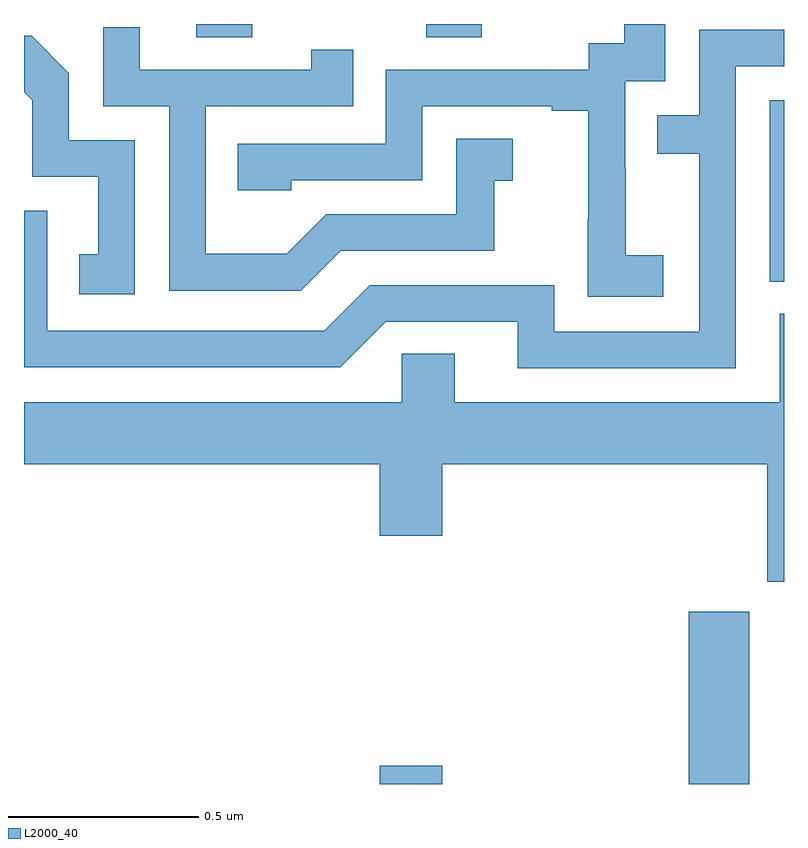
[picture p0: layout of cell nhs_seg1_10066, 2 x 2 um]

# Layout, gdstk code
import gdstk
lib = gdstk.Library(unit=1e-6, precision=1e-09)
def R(c, l, rs):  # rectangles x0, y0, x1, y1
    for r in rs: c.add(gdstk.rectangle(r[:2], r[2:], *l))
def P(c, l, *ps):  # polygons
    for p in ps: c.add(gdstk.Polygon(p, *l))
L2000_40 = (2000, 40)

nhs_seg1_10066 = lib.new_cell('nhs_seg1_10066')
R(nhs_seg1_10066, L2000_40, [(236.936,576.199,237.1,576.247), (237.749,576.199,237.909,576.652), (237.963,577.521,238,577.998), (236.453,578.164,236.601,578.199), (237.058,578.164,237.205,578.199)])
P(nhs_seg1_10066, L2000_40, [(237.682,577.591),(237.584,577.591),(237.584,577.82),(237.582,577.82),(237.582,578.049),(237.687,578.049),(237.687,578.199),(237.579,578.199),(237.579,578.148),(237.486,578.148),(237.486,578.079),(236.952,578.079),(236.952,577.884),(236.563,577.884),(236.563,577.761),(236.703,577.761),(236.703,577.788),(237.048,577.788),(237.048,577.983),(237.389,577.983),(237.389,577.971),(237.485,577.971),(237.485,577.687),(237.484,577.687),(237.484,577.481),(237.682,577.481)],
  [(236.833,577.602),(237.237,577.602),(237.237,577.787),(237.286,577.787),(237.286,577.897),(237.138,577.897),(237.138,577.698),(236.796,577.698),(236.692,577.594),(236.478,577.594),(236.478,577.983),(236.867,577.983),(236.867,578.131),(236.756,578.131),(236.756,578.079),(236.305,578.079),(236.305,578.191),(236.208,578.191),(236.208,577.983),(236.382,577.983),(236.382,577.497),(236.728,577.497)],
  [(237.873,578.088),(238,578.088),(238,578.184),(237.777,578.184),(237.777,577.959),(237.667,577.959),(237.667,577.858),(237.777,577.858),(237.777,577.389),(237.396,577.389),(237.396,577.512),(236.91,577.512),(236.79,577.392),(236.061,577.392),(236.061,577.707),(236,577.707),(236,577.296),(236.832,577.296),(236.952,577.416),(237.299,577.416),(237.299,577.293),(237.873,577.293)],
  [(236.292,577.893),(236.118,577.893),(236.118,578.07),(236.02,578.168),(236,578.168),(236,578.02),(236.022,577.998),(236.022,577.797),(236.195,577.797),(236.195,577.593),(236.146,577.593),(236.146,577.488),(236.292,577.488)],
  [(238,577.436),(237.989,577.436),(237.989,577.204),(237.133,577.204),(237.133,577.331),(236.994,577.331),(236.994,577.204),(236,577.204),(236,577.04),(236.936,577.04),(236.936,576.852),(237.1,576.852),(237.1,577.04),(237.956,577.04),(237.956,576.731),(238,576.731)])

lib.write_gds('nhs_seg1_10066.gds')
